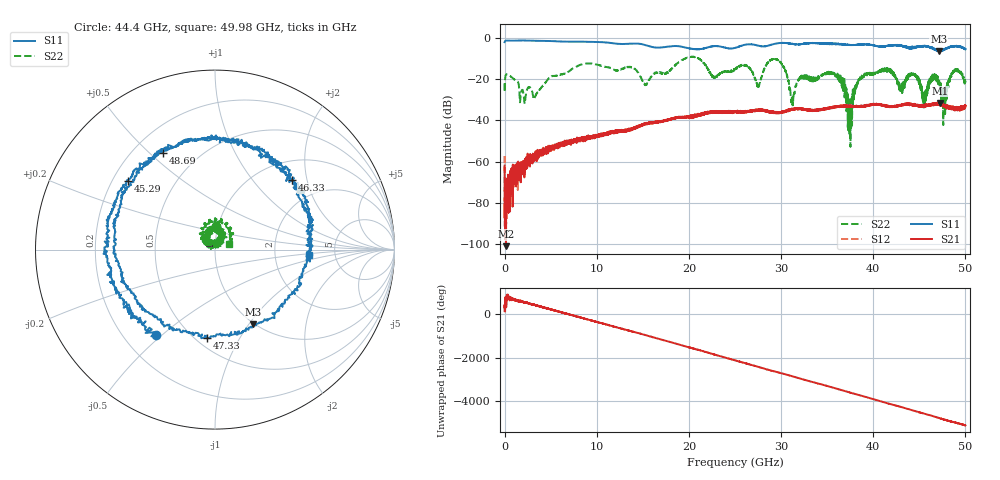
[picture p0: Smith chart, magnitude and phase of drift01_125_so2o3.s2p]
!Created with skrf (http://scikit-rf.org).
# Hz S RI R 50.0
!freq ReS11 ImS11 ReS21 ImS21 ReS12 ImS12 ReS22 ImS22
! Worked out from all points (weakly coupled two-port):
!   10001 points, 300 kHz to 50 GHz, reference 50 ohm
!   highest |S21| = -31.56 dB at 47.23 GHz (marker M1); lowest = -100.8 dB at 145.3 MHz (marker M2)
!   lowest |S11| = -6.6 dB at 47.11 GHz (marker M3), VSWR 2.76, Z = 49.2 - j52.4 ohm
!   |S11| at or under -10 dB: nowhere
!   |S22| runs from -52.8 to -9.2 dB; largest |S21 - S12| = 0.0037
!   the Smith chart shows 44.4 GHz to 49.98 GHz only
!   S11 on the Smith chart (normalised r, x): 44.4 GHz: 0.33, -0.48; 45.29 GHz: 0.26, +0.32; 46.33 GHz: 1.40, +1.63; 47.33 GHz: 0.57, -0.74; 48.69 GHz: 0.32, +0.55; 49.98 GHz: 3.19, -0.28
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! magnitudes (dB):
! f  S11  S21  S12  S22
! 300 kHz  -2.2  -61.8  -57.2  -22.0
! 145.3 MHz  -1.5  -100.8  -72.4  -17.8
! 3.29 GHz  -1.5  -55.7  -58.1  -28.8
! 8.335 GHz  -1.9  -48.9  -49.4  -12.9
! 16.67 GHz  -4.8  -40.7  -40.7  -16.6
! 25 GHz  -5.0  -35.7  -36.1  -15.4
! 29.58 GHz  -2.8  -36.1  -36.4  -10.6
! 31.24 GHz  -2.9  -34.5  -34.6  -32.1
! 33.34 GHz  -2.6  -35.1  -35.0  -20.2
! 36.08 GHz  -3.1  -33.1  -33.5  -18.8
! 37.49 GHz  -3.6  -33.0  -33.3  -35.1
! 38.67 GHz  -3.3  -33.2  -33.1  -19.8
! 41.67 GHz  -3.9  -33.0  -33.3  -15.8
! 44.4 GHz  -4.8  -32.5  -32.6  -17.8
! 45.29 GHz  -4.2  -33.0  -33.2  -26.4
! 46.33 GHz  -4.7  -32.2  -32.4  -19.6
! 47.11 GHz  -6.6  -31.9  -31.7  -20.8
! 47.23 GHz  -6.3  -31.6  -32.0  -24.6
! 47.33 GHz  -6.2  -32.3  -32.4  -22.2
! 48.69 GHz  -4.2  -34.5  -34.1  -16.2
! 49.98 GHz  -5.6  -32.9  -33.6  -21.4
! 50 GHz  -5.4  -32.6  -33.4  -21.8
